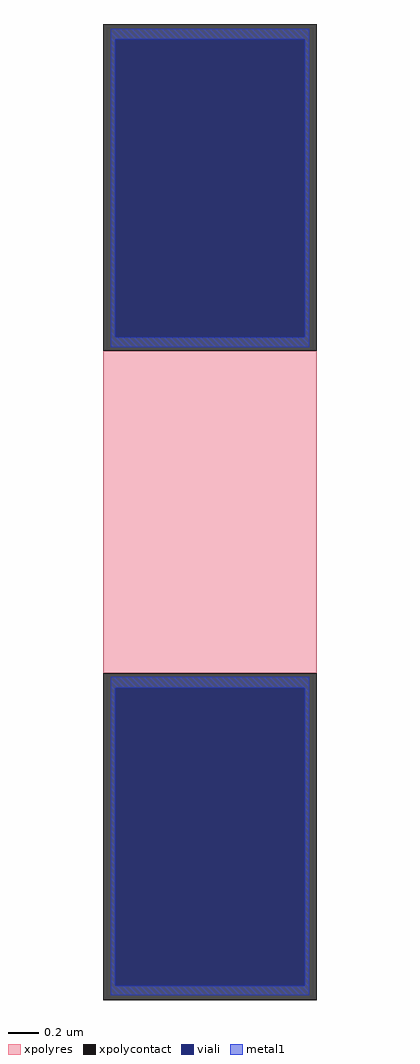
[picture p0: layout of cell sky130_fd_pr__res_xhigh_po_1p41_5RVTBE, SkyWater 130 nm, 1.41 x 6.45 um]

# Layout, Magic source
magic
tech sky130A
magscale 1 2
<< xpolycontact >>
rect -141 213 141 645
rect -141 -645 141 -213
<< xpolyres >>
rect -141 -213 141 213
<< viali >>
rect -125 231 125 625
rect -125 -626 125 -232
<< metal1 >>
rect -131 625 131 639
rect -131 231 -125 625
rect 125 231 131 625
rect -131 218 131 231
rect -131 -232 131 -218
rect -131 -626 -125 -232
rect 125 -626 131 -232
rect -131 -639 131 -626
<< end >>
